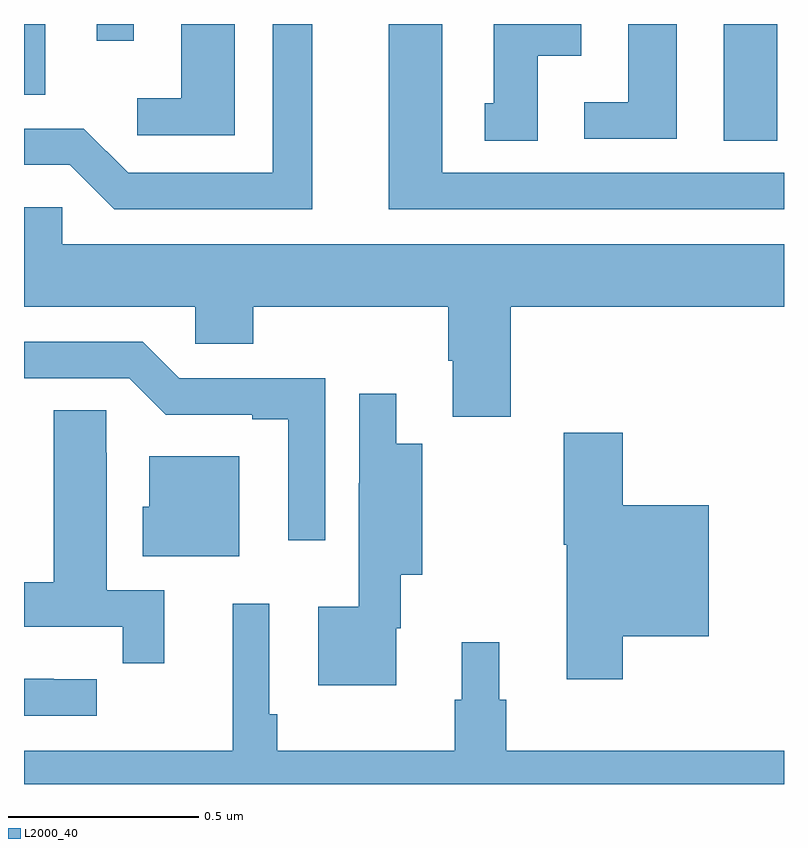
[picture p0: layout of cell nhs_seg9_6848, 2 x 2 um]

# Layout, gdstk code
import gdstk
lib = gdstk.Library(unit=1e-6, precision=1e-09)
def R(c, l, rs):  # rectangles x0, y0, x1, y1
    for r in rs: c.add(gdstk.rectangle(r[:2], r[2:], *l))
def P(c, l, *ps):  # polygons
    for p in ps: c.add(gdstk.Polygon(p, *l))
L2000_40 = (2000, 40)

nhs_seg9_6848 = lib.new_cell('nhs_seg9_6848')
R(nhs_seg9_6848, L2000_40, [(198.842,1194.193,198.982,1194.5), (197,1194.314,197.056,1194.5), (197.192,1194.456,197.289,1194.5)])
P(nhs_seg9_6848, L2000_40, [(199,1194.108),(198.1,1194.108),(198.1,1194.5),(197.96,1194.5),(197.96,1194.012),(199,1194.012)],
  [(198.352,1194.416),(198.466,1194.416),(198.466,1194.5),(198.236,1194.5),(198.236,1194.291),(198.212,1194.291),(198.212,1194.193),(198.352,1194.193)],
  [(197.758,1194.5),(197.654,1194.5),(197.654,1194.108),(197.274,1194.108),(197.157,1194.225),(197,1194.225),(197,1194.129),(197.121,1194.129),(197.238,1194.012),(197.758,1194.012)],
  [(198.718,1194.5),(198.59,1194.5),(198.59,1194.294),(198.474,1194.294),(198.474,1194.198),(198.718,1194.198)],
  [(197.554,1194.5),(197.414,1194.5),(197.414,1194.304),(197.298,1194.304),(197.298,1194.207),(197.554,1194.207)],
  [(198.281,1193.756),(199,1193.756),(199,1193.92),(197.1,1193.92),(197.1,1194.018),(197,1194.018),(197,1193.756),(197.451,1193.756),(197.451,1193.658),(197.603,1193.658),(197.603,1193.756),(198.116,1193.756),(198.116,1193.614),(198.128,1193.614),(198.128,1193.466),(198.281,1193.466)],
  [(197.793,1193.568),(197.409,1193.568),(197.313,1193.664),(197,1193.664),(197,1193.568),(197.277,1193.568),(197.373,1193.472),(197.6,1193.472),(197.6,1193.46),(197.696,1193.46),(197.696,1193.142),(197.793,1193.142)],
  [(197.979,1192.91),(197.992,1192.91),(197.992,1193.051),(198.048,1193.051),(198.048,1193.395),(197.98,1193.395),(197.98,1193.527),(197.882,1193.527),(197.882,1193.291),(197.881,1193.291),(197.881,1192.966),(197.774,1192.966),(197.774,1192.76),(197.979,1192.76)],
  [(197.369,1193.01),(197.218,1193.01),(197.218,1193.372),(197.217,1193.372),(197.217,1193.483),(197.078,1193.483),(197.078,1193.031),(197,1193.031),(197,1192.914),(197.26,1192.914),(197.26,1192.818),(197.369,1192.818)],
  [(198.575,1192.889),(198.802,1192.889),(198.802,1193.233),(198.575,1193.233),(198.575,1193.425),(198.421,1193.425),(198.421,1193.129),(198.428,1193.129),(198.428,1192.776),(198.575,1192.776)],
  [(197.566,1193.362),(197.33,1193.362),(197.33,1193.229),(197.312,1193.229),(197.312,1193.099),(197.566,1193.099)],
  [(199,1192.588),(198.269,1192.588),(198.269,1192.722),(198.25,1192.722),(198.25,1192.873),(198.152,1192.873),(198.152,1192.722),(198.133,1192.722),(198.133,1192.588),(197.666,1192.588),(197.666,1192.684),(197.646,1192.684),(197.646,1192.975),(197.549,1192.975),(197.549,1192.588),(197,1192.588),(197,1192.5),(199,1192.5)],
  [(197.191,1192.776),(197.078,1192.776),(197.078,1192.777),(197,1192.777),(197,1192.68),(197.191,1192.68)])

lib.write_gds('nhs_seg9_6848.gds')
